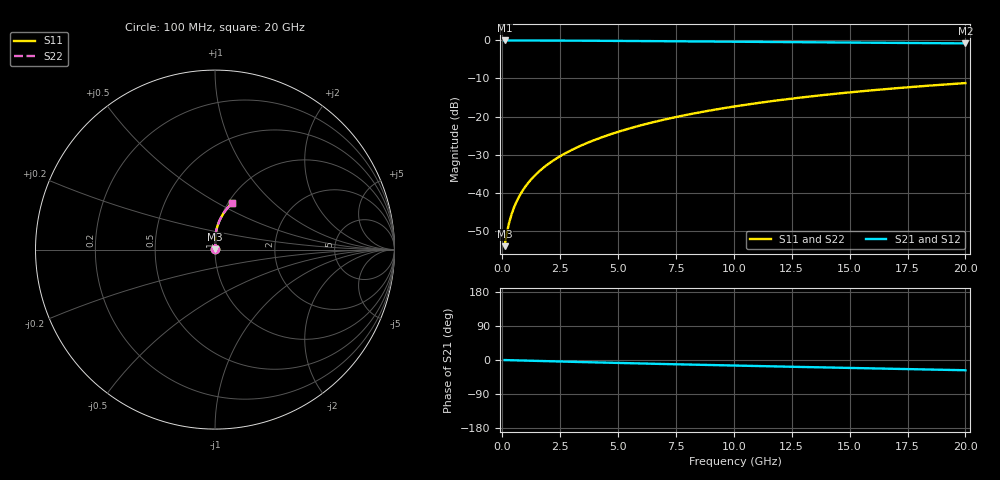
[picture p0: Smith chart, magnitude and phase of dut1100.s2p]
! Touchstone file exported from HFSS 2024.1.0
!  File:  C:/UserFiles/LocalFiles/RDL_TSV_Batchsim/temp_RDL_bottom_1100_1780053995.aedt
!  Generated:  07:29:01 PM May 29, 2026
!  Design:  RDL_bottom
!  Project:  temp_RDL_bottom_1100_1780053995
!  Setup:  Setup1
!  Solution:  Sweep
! Variables:
!  dtsv = 10.80580581um
!  hbump = 3um
!  htsv = 96.87um
!  ldown = 339.46um
!  lrdl = 100um
!  p = 40
!  p1 = 59.44um
!  rhole = 1um
!  t = 450um
!  tdown = 3.67um
!  trdl = 3.915915916um
!  wdown = 25.82um
!  wrdl = 20um
# GHz S MA R 50.000000
! Terminal data exported
! Port[1] = RDL1_T1
! Port[2] = RDL1_T2
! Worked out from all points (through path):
!   200 points, 100 MHz to 20 GHz, reference 50 ohm
!   highest |S21| = -0.01 dB at 100 MHz (marker M1); lowest = -0.8 dB at 20 GHz (marker M2)
!   group delay of S21, straight-line fit = 3.71 ps
!   lowest |S11| = -54.1 dB at 100 MHz (marker M3), VSWR 1.00, Z = 50.1 + j0.13 ohm
!   |S11| at or under -10 dB: start of sweep to end of sweep
!   |S22| runs from -54.1 to -11.2 dB; largest |S21 - S12| = 3.4e-15
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0.1  0.001977 40.9  0.9985 -0.2  0.9985 -0.2  0.001977 40.9
! Gamma 0 0 0 0
! Port Impedance 50 0 50 0
0.2  0.002985 58.2  0.9984 -0.3  0.9984 -0.3  0.002985 58.2
0.3  0.004077 66.2  0.9983 -0.5  0.9983 -0.5  0.004077 66.2
0.4  0.005186 70.9  0.9982 -0.7  0.9982 -0.7  0.005186 70.9
0.5  0.006305 74.1  0.9981 -0.8  0.9981 -0.8  0.006305 74.1
0.6  0.007434 76.5  0.998 -1.0  0.998 -1.0  0.007434 76.5
0.8  0.00972 79.7  0.9978 -1.3  0.9978 -1.3  0.009721 79.7
1.1  0.01321 82.6  0.9974 -1.8  0.9974 -1.8  0.01321 82.6
1.5  0.01793 84.8  0.9967 -2.4  0.9967 -2.4  0.01793 84.8
1.8  0.02153 85.9  0.9961 -2.9  0.9961 -2.9  0.02153 85.9
2.1  0.02517 86.6  0.9954 -3.4  0.9954 -3.4  0.02517 86.7
2.7  0.03259 87.7  0.9938 -4.3  0.9938 -4.3  0.03259 87.7
3.5  0.04279 88.4  0.9911 -5.5  0.9911 -5.5  0.04279 88.4
4.2  0.052 88.6  0.9885 -6.6  0.9885 -6.6  0.052 88.6
5  0.06284 88.5  0.9851 -7.8  0.9851 -7.8  0.06285 88.5
6.8  0.08823 87.4  0.977 -10.3  0.977 -10.3  0.08824 87.4
8.4  0.1115 85.7  0.9694 -12.5  0.9694 -12.5  0.1116 85.7
10.1  0.1366 83.6  0.9613 -14.8  0.9613 -14.8  0.1366 83.6
11.7  0.1601 81.4  0.9538 -16.8  0.9538 -16.8  0.1602 81.4
13.4  0.1848 79.0  0.9457 -19.0  0.9457 -19.0  0.1848 79.0
16.7  0.2311 74.4  0.9299 -23.1  0.9299 -23.1  0.2312 74.4
20  0.2749 69.9  0.9138 -27.0  0.9138 -27.0  0.2749 69.9
